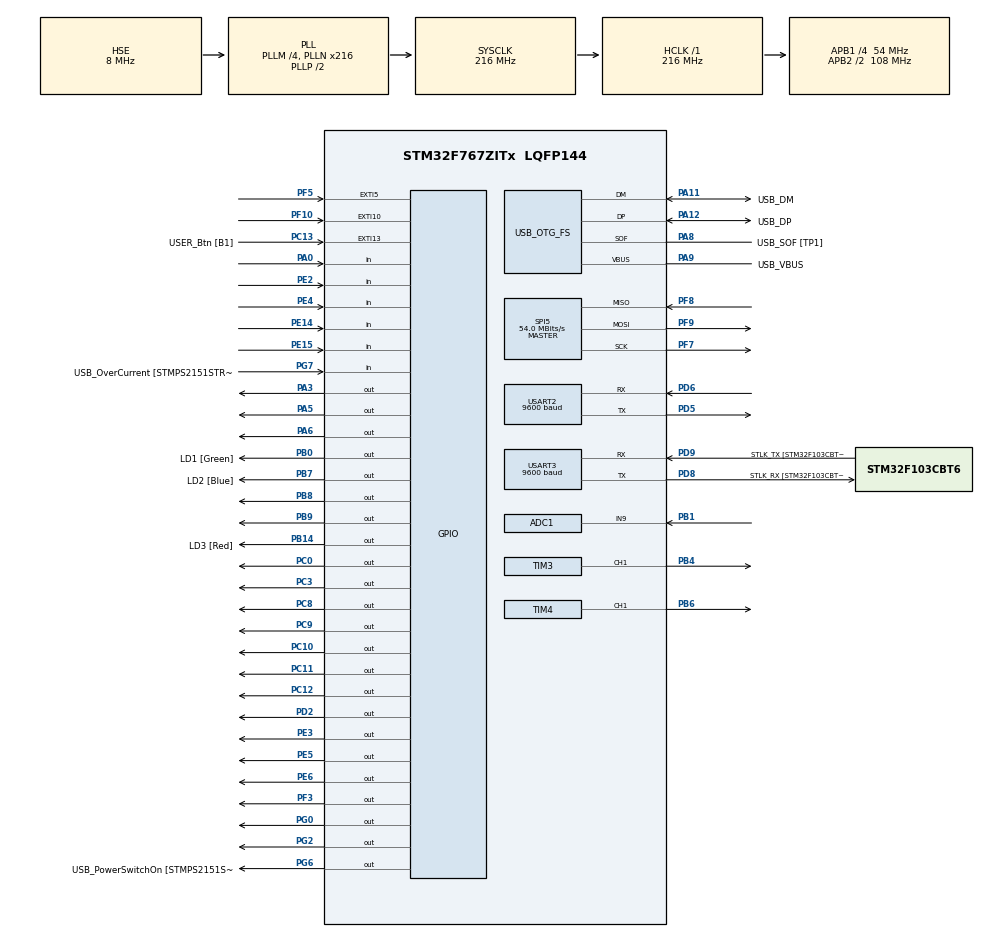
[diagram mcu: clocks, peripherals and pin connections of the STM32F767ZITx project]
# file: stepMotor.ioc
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ADC1.Channel-0\#ChannelRegularConversion=ADC_CHANNEL_9
ADC1.ContinuousConvMode=ENABLE
ADC1.EOCSelection=ADC_EOC_SEQ_CONV
ADC1.NbrOfConversionFlag=1
ADC1.Rank-0\#ChannelRegularConversion=1
ADC1.SamplingTime-0\#ChannelRegularConversion=ADC_SAMPLETIME_3CYCLES
ADC1.master=1
Mcu.Family=STM32F7
Mcu.Name=STM32F767ZITx
Mcu.Package=LQFP144
NVIC.EXTI15_10_IRQn=true\:3\:0\:true\:false\:true\:true\:true\:true
NVIC.EXTI9_5_IRQn=true\:1\:0\:true\:false\:true\:true\:true\:true
NVIC.PriorityGroup=NVIC_PRIORITYGROUP_4
NVIC.TIM1_UP_TIM10_IRQn=true\:0\:0\:false\:false\:true\:true\:true\:true
NVIC.TIM3_IRQn=true\:2\:0\:true\:false\:true\:true\:true\:true
NVIC.TIM4_IRQn=true\:2\:0\:true\:false\:true\:true\:true\:true
PA0/WKUP.GPIO_PuPd=GPIO_PULLDOWN
PA0/WKUP.Signal=GPIO_Input
PA1.GPIO_Label=RMII_REF_CLK [LAN8742A-CZ-TR_REFCLK0]
PA1.Signal=ETH_REF_CLK
PA10.GPIO_Label=USB_ID
PA10.Signal=USB_OTG_FS_ID
PA11.GPIO_Label=USB_DM
PA11.Mode=Device_Only
PA11.Signal=USB_OTG_FS_DM
PA12.GPIO_Label=USB_DP
PA12.Mode=Device_Only
PA12.Signal=USB_OTG_FS_DP
PA13.GPIO_Label=TMS
PA13.Mode=Serial_Wire
PA13.Signal=SYS_JTMS-SWDIO
PA14.GPIO_Label=TCK
PA14.Mode=Serial_Wire
PA14.Signal=SYS_JTCK-SWCLK
PA2.GPIO_Label=RMII_MDIO [LAN8742A-CZ-TR_MDIO]
PA2.Signal=ETH_MDIO
PA3.Signal=GPIO_Output
PA5.Signal=GPIO_Output
PA6.Signal=GPIO_Output
PA7.GPIO_Label=RMII_CRS_DV [LAN8742A-CZ-TR_CRS_DV]
PA7.Signal=ETH_CRS_DV
PA8.GPIO_Label=USB_SOF [TP1]
PA8.Mode=Activate_SOF_FS
PA8.Signal=USB_OTG_FS_SOF
PA9.GPIO_Label=USB_VBUS
PA9.Mode=Activate_VBUS
PA9.Signal=USB_OTG_FS_VBUS
PB0.GPIO_Label=LD1 [Green]
PB0.Signal=GPIO_Output
PB1.Signal=ADCx_IN9
PB13.GPIO_Label=RMII_TXD1 [LAN8742A-CZ-TR_TXD1]
PB13.Signal=ETH_TXD1
PB14.GPIO_Label=LD3 [Red]
PB14.Signal=GPIO_Output
PB3.GPIO_Label=SWO
PB3.Signal=SYS_JTDO-SWO
PB4.GPIO_Speed=GPIO_SPEED_FREQ_MEDIUM
PB4.Signal=S_TIM3_CH1
PB6.GPIO_Speed=GPIO_SPEED_FREQ_MEDIUM
PB6.Signal=S_TIM4_CH1
PB7.GPIO_Label=LD2 [Blue]
PB7.Signal=GPIO_Output
PB8.Signal=GPIO_Output
PB9.Signal=GPIO_Output
PC0.Signal=GPIO_Output
PC1.GPIO_Label=RMII_MDC [LAN8742A-CZ-TR_MDC]
PC1.Signal=ETH_MDC
PC10.GPIO_Speed=GPIO_SPEED_FREQ_HIGH
PC10.Signal=GPIO_Output
PC11.Signal=GPIO_Output
PC12.Signal=GPIO_Output
PC13.GPIO_Label=USER_Btn [B1]
PC13.Signal=GPXTI13
PC14/OSC32_IN.Mode=LSE-External-Oscillator
PC14/OSC32_IN.Signal=RCC_OSC32_IN
PC15/OSC32_OUT.Mode=LSE-External-Oscillator
PC15/OSC32_OUT.Signal=RCC_OSC32_OUT
PC3.Signal=GPIO_Output
PC4.GPIO_Label=RMII_RXD0 [LAN8742A-CZ-TR_RXD0]
PC4.Signal=ETH_RXD0
PC5.GPIO_Label=RMII_RXD1 [LAN8742A-CZ-TR_RXD1]
PC5.Signal=ETH_RXD1
PC8.GPIO_Speed=GPIO_SPEED_FREQ_HIGH
PC8.Signal=GPIO_Output
PC9.GPIO_Speed=GPIO_SPEED_FREQ_HIGH
PC9.Signal=GPIO_Output
PD2.Signal=GPIO_Output
PD5.Mode=Asynchronous
PD5.Signal=USART2_TX
PD6.Mode=Asynchronous
PD6.Signal=USART2_RX
PD8.GPIO_Label=STLK_RX [STM32F103CBT6_PA3]
PD8.Mode=Asynchronous
PD8.Signal=USART3_TX
PD9.GPIO_Label=STLK_TX [STM32F103CBT6_PA2]
PD9.Mode=Asynchronous
PD9.Signal=USART3_RX
PE14.GPIO_PuPd=GPIO_PULLDOWN
PE14.Signal=GPIO_Input
PE15.GPIO_PuPd=GPIO_PULLDOWN
PE15.Signal=GPIO_Input
PE2.Signal=GPIO_Input
PE3.GPIO_Speed=GPIO_SPEED_FREQ_HIGH
PE3.Signal=GPIO_Output
PE4.Signal=GPIO_Input
PE5.GPIO_Speed=GPIO_SPEED_FREQ_HIGH
PE5.Signal=GPIO_Output
PE6.GPIO_Speed=GPIO_SPEED_FREQ_HIGH
PE6.Signal=GPIO_Output
PF10.GPIO_PuPd=GPIO_PULLDOWN
PF10.Signal=GPXTI10
PF3.Signal=GPIO_Output
PF5.GPIO_PuPd=GPIO_PULLDOWN
PF5.Signal=GPXTI5
PF7.Mode=Full_Duplex_Master
PF7.Signal=SPI5_SCK
PF8.Mode=Full_Duplex_Master
PF8.Signal=SPI5_MISO
PF9.Mode=Full_Duplex_Master
PF9.Signal=SPI5_MOSI
PG0.Signal=GPIO_Output
PG11.GPIO_Label=RMII_TX_EN [LAN8742A-CZ-TR_TXEN]
PG11.Signal=ETH_TX_EN
PG13.GPIO_Label=RMII_TXD0 [LAN8742A-CZ-TR_TXD0]
PG13.Signal=ETH_TXD0
PG2.Signal=GPIO_Output
PG6.GPIO_Label=USB_PowerSwitchOn [STMPS2151STR_EN]
PG6.Signal=GPIO_Output
PG7.GPIO_Label=USB_OverCurrent [STMPS2151STR_FAULT]
PG7.Signal=GPIO_Input
PH0/OSC_IN.GPIO_Label=MCO [STM32F103CBT6_PA8]
PH0/OSC_IN.Mode=HSE-External-Clock-Source
PH0/OSC_IN.Signal=RCC_OSC_IN
PH1/OSC_OUT.Mode=HSE-External-Clock-Source
PH1/OSC_OUT.Signal=RCC_OSC_OUT
ProjectManager.HeapSize=0x200
ProjectManager.StackSize=0x400
ProjectManager.TargetToolchain=STM32CubeIDE
RCC.48MHZClocksFreq_Value=24000000
RCC.AHBFreq_Value=216000000
RCC.APB1CLKDivider=RCC_HCLK_DIV4
RCC.APB1Freq_Value=54000000
RCC.APB1TimFreq_Value=108000000
RCC.APB2CLKDivider=RCC_HCLK_DIV2
RCC.APB2Freq_Value=108000000
RCC.APB2TimFreq_Value=216000000
RCC.CortexFreq_Value=216000000
RCC.HCLKFreq_Value=216000000
RCC.HSE_VALUE=8000000
RCC.HSI_VALUE=16000000
RCC.PLLM=4
RCC.PLLMUL=RCC_PLL_MUL9
RCC.PLLN=216
RCC.PLLQ=9
RCC.PRESCALERUSB=RCC_USBCLKSOURCE_PLL_DIV1_5
RCC.SYSCLKFreq_VALUE=216000000
RCC.SYSCLKSource=RCC_SYSCLKSOURCE_PLLCLK
RCC.SYSCLKSourceVirtual=RCC_SYSCLKSOURCE_PLLCLK
RCC.USBFreq_Value=48000000
RCC.VCOOutputFreq_Value=432000000
SH.ADCx_IN9.0=ADC1_IN9,IN9
SH.S_TIM3_CH1.0=TIM3_CH1,PWM Generation1 CH1
SH.S_TIM4_CH1.0=TIM4_CH1,PWM Generation1 CH1
SPI5.CalculateBaudRate=54.0 MBits/s
SPI5.DataSize=SPI_DATASIZE_8BIT
SPI5.Direction=SPI_DIRECTION_2LINES
SPI5.Mode=SPI_MODE_MASTER
SPI5.VirtualType=VM_MASTER
TIM1.Period=10000-1
TIM1.Prescaler=21600-1
TIM3.Channel-PWM\ Generation1\ CH1=TIM_CHANNEL_1
TIM3.Period=1000-1
TIM3.Prescaler=108-1
TIM3.Pulse-PWM\ Generation1\ CH1=500
TIM4.Channel-PWM\ Generation1\ CH1=TIM_CHANNEL_1
TIM4.Period=1000-1
TIM4.Prescaler=108-1
TIM4.Pulse-PWM\ Generation1\ CH1=500
USART2.BaudRate=9600
USART2.VirtualMode-Asynchronous=VM_ASYNC
USART3.BaudRate=9600
USART3.VirtualMode-Asynchronous=VM_ASYNC
USB_OTG_FS.VirtualMode=Device_Only
VP_RNG_VS_RNG.Mode=RNG_Activate
VP_TIM1_VS_ClockSourceINT.Mode=Internal
VP_TIM3_VS_ClockSourceINT.Mode=Internal
VP_TIM4_VS_ClockSourceINT.Mode=Internal
board=NUCLEO-F767ZI

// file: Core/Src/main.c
/* USER CODE BEGIN Header */
/**
  ******************************************************************************
  * @file           : main.c
  * @brief          : Main program body
  ******************************************************************************
  * @attention
  *
  * Copyright (c) 2025 STMicroelectronics.
  * All rights reserved.
  *
  * This software is licensed under terms that can be found in the LICENSE file
  * in the root directory of this software component.
  * If no LICENSE file comes with this software, it is provided AS-IS.
  *
  ******************************************************************************
  */
/* USER CODE END Header */
#include "main.h"
#include "adc.h"
#include "rng.h"
#include "spi.h"
#include "tim.h"
#include "usart.h"
#include "usb_otg.h"
#include "gpio.h"

/* USER CODE BEGIN Includes */
#include <stdio.h>
#include <string.h>
#include "Micro_Max.h"
#include <stdio.h>
#include "config.h"
//#include "cli.h"
#include "motion.h"
#include "homing.h"
#include "stepper.h"
#include <stdbool.h>
#include "tim.h"
#include "ILI9341_Touchscreen.h"

#include "ILI9341_STM32_Driver.h"
#include "ILI9341_GFX.h"

#include "snow_tiger.h"
#include <ctype.h>
#include <stdlib.h>
#include "core_cm7.h"
/* USER CODE END Includes */

/* USER CODE BEGIN PTD */
typedef struct {
    GPIO_TypeDef *port;
    uint16_t pin;
} MuxEnablePin;

MuxEnablePin mux_enables[4] = {
    {GPIOB, GPIO_PIN_8},   // MUX 0
    {GPIOB, GPIO_PIN_9},   // MUX 1
    {GPIOA, GPIO_PIN_5},   // MUX 2
    {GPIOA, GPIO_PIN_6},   // MUX 3
};
/* USER CODE END PTD */

/* USER CODE BEGIN PD */

#define UART_TIMEOUT    HAL_MAX_DELAY
#define LINE_BUFSIZE    64

/* USER CODE END PD */

/* USER CODE BEGIN PV */
uint32_t check = 0;

volatile uint32_t player1_time = 1800;
volatile uint32_t player2_time = 1800;
volatile uint8_t  current_player = 1;
uint8_t button1_state = 1;
uint8_t button15_state = 1;
uint8_t last_button_state1 = 1; // pull-up = idle
uint8_t last_button_state15 = 1;
uint8_t button2_state = 1;
uint8_t last_button_state2 = 1; // pull-up = idle

char formatted1[64];
uint8_t send_ready = 0;
uint8_t button1_flag = 0;
uint8_t button15_flag = 0;
uint8_t button2_flag = 0;
#define RX_BUFFER_SIZE 64
uint8_t rx_char;             // ตัวอักษรที่รับเข้าทีละตัว
char rx_buffer[RX_BUFFER_SIZE];
volatile uint8_t rx_idx = 0;

bool mg = false;

uint32_t max_board[4][16] = {0};
uint32_t min_board[4][16] = {9999};

uint32_t prev_board[4][16] = {0};
uint32_t prev_threshold[4][16];
uint8_t total_piece = 32;
uint8_t count_piece = 0;
volatile bool curr_board0[4][16] = {0};
uint32_t curr_board[4][16] = {0};
char captured_square[3] = {0};
uint32_t board_empty[4][16];
uint32_t threshold[4][16];

bool whiteSide = true;
uint8_t started = 0;
const char *square_map[4][16] = {
    // mux 0  (was rank 8–7 → now rank 1–2)
    {
        "h1","g1","f1","e1","d1","c1","b1","a1",
        "h2","g2","f2","e2","d2","c2","b2","a2"
    },
    // mux 1  (was rank 6–5 → now rank 3–4)
    {
        "h3","g3","f3","e3","d3","c3","b3","a3",
        "h4","g4","f4","e4","d4","c4","b4","a4"
    },
    // mux 2  (was rank 4–3 → now rank 5–6)
    {
        "h5","g5","f5","e5","d5","c5","b5","a5",
        "h6","g6","f6","e6","d6","c6","b6","a6"
    },
    // mux 3  (was rank 2–1 → now rank 7–8)
    {
        "h7","g7","f7","e7","d7","c7","b7","a7",
        "h8","g8","f8","e8","d8","c8","b8","a8"
    }
};

/* USER CODE END PV */

void SystemClock_Config(void);
/* USER CODE BEGIN PFP */
char select_initial_string(void);
/* USER CODE END PFP */

/* USER CODE BEGIN 0 */
char mov[5] = {0};
static void uart_puts(const char *s) {
  HAL_UART_Transmit(&huart3, (uint8_t*)s, strlen(s), UART_TIMEOUT);
}

/* อ่าน 1 บรรทัด (จบเมื่อเจอ CR/LF), เก็บลง buf แบบ zero-terminated
   คืนค่าความยาวสตริง (ไม่รวม \0) */
static int uart_getline(char *buf, int maxlen) {
  int idx = 0;
  while (idx < maxlen - 1) {
    uint8_t ch;
    if (HAL_UART_Receive(&huart3, &ch, 1, UART_TIMEOUT) != HAL_OK) {
      continue; // or return -1 หากอยากให้หลุด
    }

    // echo (option) — ให้เห็นบน TeraTerm ว่าพิมพ์อะไร
    HAL_UART_Transmit(&huart3, &ch, 1, UART_TIMEOUT);

    if (ch == '\r') {
      // รอ LF ต่อ (ถ้ามี)
      uint8_t next;
      if (HAL_UART_Receive(&huart3, &next, 1, 5) == HAL_OK && next != '\n') {
        // ไม่ใช่ LF ก็เอาคืน buffer (ถ้าต้องการ)
      }
      break;
    } else if (ch == '\n') {
      break;
    } else if (ch == 0x08 || ch == 0x7F) {
      // Backspace
      if (idx > 0) {
        idx--;
      }
    } else {
      buf[idx++] = (char)ch;
    }
  }
  buf[idx] = '\0';
  return idx;
}

/* ตรวจรูปแบบ "e2e4": ไฟล์ a..h, แถว 1..8, 4 อักษรพอดี */
static int is_valid_mov4(const char *s) {
  return (strlen(s) == 4) &&
         (s[0] >= 'a' && s[0] <= 'h') &&
         (s[1] >= '1' && s[1] <= '8') &&
         (s[2] >= 'a' && s[2] <= 'h') &&
         (s[3] >= '1' && s[3] <= '8');
}

static int char_to_int(char s) {
  if(s == 'h' || s=='1'){return 0;}
  if(s == 'g' || s=='2'){return 1;}
  if(s == 'f' || s=='3'){return 2;}
  if(s == 'e' || s=='4'){return 3;}
  if(s == 'd' || s=='5'){return 4;}
  if(s == 'c' || s=='6'){return 5;}
  if(s == 'b' || s=='7'){return 6;}
  if(s == 'a' || s=='8'){return 7;}
}

static void set_mux_channel(uint8_t counter)
{
    // counter = 0..15
    HAL_GPIO_WritePin(GPIOG, GPIO_PIN_2,  (counter & (1<<0)) ? GPIO_PIN_SET : GPIO_PIN_RESET);   // SEL0 (LSB)
    HAL_GPIO_WritePin(GPIOD, GPIO_PIN_2, (counter & (1<<1)) ? GPIO_PIN_SET : GPIO_PIN_RESET);   // SEL1
    HAL_GPIO_WritePin(GPIOC, GPIO_PIN_12, (counter & (1<<2)) ? GPIO_PIN_SET : GPIO_PIN_RESET);   // SEL2
    HAL_GPIO_WritePin(GPIOC, GPIO_PIN_11, (counter & (1<<3)) ? GPIO_PIN_SET : GPIO_PIN_RESET);   // SEL3 (MSB)
}

static void enable_mux(uint8_t mux_index) {
    for (int i = 0; i < 4; i++) {
        HAL_GPIO_WritePin(mux_enables[i].port, mux_enables[i].pin, GPIO_PIN_SET); // disable all (assuming active LOW)
    }
    HAL_GPIO_WritePin(mux_enables[mux_index].port, mux_enables[mux_index].pin, GPIO_PIN_RESET); // enable selected mux
}

void print_board(void) {
    char msg[40];
    HAL_UART_Transmit(&huart3, (uint8_t*)"\r\n", 2, HAL_MAX_DELAY);

    for (int rank = 0; rank < 8; rank++) {
        for (int file = 0; file < 8; file++) {
            int index = rank * 8 + file; // 0..63
            int mux = index / 16;        // 0..3
            int ch  = index % 16;        // 0..15

            char c = (curr_board[mux][ch] < threshold[mux][ch]) ? '1' : '.';

            sprintf(msg, "%c ", c);
            HAL_UART_Transmit(&huart3, (uint8_t*)msg, strlen(msg), HAL_MAX_DELAY);
        }
        HAL_UART_Transmit(&huart3, (uint8_t*)"\r\n", 2, HAL_MAX_DELAY);
    }

    HAL_UART_Transmit(&huart3, (uint8_t*)"\r\n", 2, HAL_MAX_DELAY);
    HAL_UART_Transmit(&huart3, (uint8_t*)"_______________________________\r\n", strlen("_______________________________\r\n"), HAL_MAX_DELAY);
    HAL_UART_Transmit(&huart3, (uint8_t*)"\r\n", 2, HAL_MAX_DELAY);
        for (int rank = 0; rank < 8; rank++) {
            for (int file = 0; file < 8; file++) {
                int index = rank * 8 + file; // 0..63
                int mux = index / 16;        // 0..3
                int ch  = index % 16;        // 0..15

                char c = (prev_board[mux][ch] < prev_threshold[mux][ch]) ? '1' : '.';

                sprintf(msg, "%c ", c);
                HAL_UART_Transmit(&huart3, (uint8_t*)msg, strlen(msg), HAL_MAX_DELAY);
            }
            HAL_UART_Transmit(&huart3, (uint8_t*)"\r\n", 2, HAL_MAX_DELAY);
        }

    HAL_UART_Transmit(&huart3, (uint8_t*)"\r\n", 2, HAL_MAX_DELAY);
}

uint32_t read_adc(void) {
    uint32_t value = 0;

    HAL_ADC_Start(&hadc1);
    if (HAL_ADC_PollForConversion(&hadc1, 10) == HAL_OK) {
        value = HAL_ADC_GetValue(&hadc1);
    }
    HAL_ADC_Stop(&hadc1);

    return value;
}

void check_knight_move(const char *from, const char *to) {
    if (!from || !to || strlen(from) < 2 || strlen(to) < 2)
        return;

    int from_file = toupper(from[0]) - 'a' + 1;
    int from_rank = from[1] - '0';
    int to_file   = toupper(to[0]) - 'a' + 1;
    int to_rank   = to[1] - '0';

    int dx = abs(to_file - from_file);
    int dy = abs(to_rank - from_rank);

    if ((dx == 2 && dy == 1) || (dx == 1 && dy == 2)) {
        char buffer[128];
        snprintf(buffer, sizeof(buffer),
                 "Knight move detected: %s -> %s\r\n", from, to);
        uart_puts(buffer);

        uart_puts("Squares around path: ");

        		//Ex: E1F3, min=E, max=F, min=1, max=3
                // Get min/max boundaries between from and to (exclusive)
                int min_file = (from_file < to_file) ? from_file : to_file;
                int max_file = (from_file > to_file) ? from_file : to_file;
                int min_rank = (from_rank < to_rank) ? from_rank : to_rank;
                int max_rank = (from_rank > to_rank) ? from_rank : to_rank;

                for (int f = min_file; f <= max_file; f++) {
                    for (int r = min_rank; r <= max_rank; r++) {
                        // skip start and end
                        if ((f == from_file && r == from_rank) || (f == to_file && r == to_rank))
                            continue;

                        char square[5];
                        square[0] = 'a' + f - 1;
                        square[1] = '0' + r;
                        square[2] = ' ';
                        square[3] = '\0';
                        uart_puts(square);
                    }
                }

                uart_puts("\r\n");
    }
}

void scan_board(void) {
    for (uint8_t mux = 0; mux < 4; mux++) {
        enable_mux(mux);

        for (uint8_t ch = 0; ch < 16; ch++) {
            set_mux_channel(ch);
            HAL_Delay(5); // allow signals to settle

            uint32_t adc_val = read_adc();
            curr_board[mux][ch] = adc_val;
            if (( min_board[mux][ch] != 9999) && (adc_val > max_board[mux][ch])  ){
            	max_board[mux][ch] = adc_val;
            	threshold[mux][ch] = (max_board[mux][ch]+min_board[mux][ch])/2;
            }

            else if(( max_board[mux][ch] != 0) && (adc_val < min_board[mux][ch]) ){
            	min_board[mux][ch] = adc_val;
            	threshold[mux][ch] = (max_board[mux][ch]+min_board[mux][ch])/2;
            }
        }
    }
}

void detect_capture(void) {
	count_piece = 0;
	uint8_t captured_piece = 0;
    for (uint8_t mux = 0; mux < 4; mux++) {
        for (uint8_t ch = 0; ch < 16; ch++) {

            uint8_t prev_state = (prev_board[mux][ch] < prev_threshold[mux][ch]) ? 1 : 0;
            uint8_t curr_state = (curr_board[mux][ch] < threshold[mux][ch]) ? 1 : 0;

            if (curr_state == 1){
            	count_piece += 1;
            }
            if (prev_state && !curr_state) {
            	if(captured_piece == 1)
            	{
            		captured_square[0] = '\0';
					uart_puts("\r\nReturn the piece and try again.\r\n");
					HAL_UART_Transmit(&huart2, (uint8_t*)("e\n"), strlen("e\n"), UART_TIMEOUT);
					return;
            	}
                strcpy(captured_square, square_map[mux][ch]);
                char msg[32];
                sprintf(msg, "Captured:%s\r\n", captured_square);
                captured_piece+=1;
                HAL_UART_Transmit(&huart3, (uint8_t*)msg, strlen(msg), HAL_MAX_DELAY);
            }
        }
    }
    if (captured_piece == 0 || count_piece != total_piece - 1)
    {
    	captured_square[0] = '\0';
    	HAL_UART_Transmit(&huart2, (uint8_t*)("e\n"), strlen("e\n"), UART_TIMEOUT);
		uart_puts("\r\nMake sure piece is in the center.\r\n");
		return;
    }

    if (captured_piece == 1 && count_piece == total_piece - 1)
    {
    	total_piece -= 1;
		memcpy((void*)prev_board, (void*)curr_board, sizeof(prev_board));
		memcpy((void*)prev_threshold, (void*)threshold, sizeof(prev_threshold));
    }
}

char* detect_move(void) {
    static char msg[20];   // ✅ now it's not destroyed when function exits
    msg[0] = '\0';
    count_piece = 0;
    const char *from_squares[2] = {NULL, NULL};
    const char *to_squares[2] = {NULL, NULL};
    uint8_t from_count = 0, to_count = 0;

    for (uint8_t mux = 0; mux < 4; mux++) {
        for (uint8_t ch = 0; ch < 16; ch++) {
            uint8_t prev_state = (prev_board[mux][ch] < prev_threshold[mux][ch]) ? 1 : 0;
            uint8_t curr_state = (curr_board[mux][ch] < threshold[mux][ch]) ? 1 : 0;

            if(curr_state == 1)
            {
            	count_piece += 1;
            }
            if (prev_state && !curr_state && from_count < 2)
                from_squares[from_count++] = square_map[mux][ch];

            if (!prev_state && curr_state && to_count < 2)
                to_squares[to_count++] = square_map[mux][ch];
        }
    }
    if(count_piece != total_piece){
    	return "0";
    }
    // normal move
    if (from_count == 1 && to_count == 1) {
        sprintf(msg, "%s%s", from_squares[0], to_squares[0]);
        uart_puts("\rCase 1\r\n");
    }
    // castling
    else if (from_count == 2 && to_count == 2) {
        const char *from = from_squares[0];
        const char *to   = to_squares[0];

        if (from_squares[1] && from_squares[1][0] == 'e') {
            from = from_squares[1];
            to   = to_squares[0];
        } else if (from_squares[0] && from_squares[0][0] == 'e') {
            from = from_squares[0];
            to   = to_squares[1];
        }

        sprintf(msg, "%s%s", from, to);
        uart_puts("\rCase 2\r\n");
    }

    return msg;
}

void restore_prev_board(void) {
    if (captured_square[0] == '\0') return; // no capture to restore

    for (uint8_t mux = 0; mux < 4; mux++) {
        for (uint8_t ch = 0; ch < 16; ch++) {
            if (strcmp(square_map[mux][ch], captured_square) == 0) {
                prev_board[mux][ch] = prev_threshold[mux][ch] - 1; // restore to "occupied"
                char msg[40];
                sprintf(msg, "Restored:%s\r\n", captured_square);
                HAL_UART_Transmit(&huart3, (uint8_t*)msg, strlen(msg), HAL_MAX_DELAY);
                break;
            }
        }
    }
    total_piece += 1;
    captured_square[0] = '\0';
}

void update_board_from_reply(const char *reply) {
    if (reply == NULL || strlen(reply) < 4) return;

    char from_square[3], to_square[3];
    strncpy(from_square, reply, 2);
    from_square[2] = '\0';
    strncpy(to_square, reply + 2, 2);
    to_square[2] = '\0';

    // Loop through all squares to find matches
    for (uint8_t mux = 0; mux < 4; mux++) {
        for (uint8_t ch = 0; ch < 16; ch++) {
            if (strcmp(square_map[mux][ch], from_square) == 0) {
                curr_board[mux][ch] = board_empty[mux][ch];
                threshold[mux][ch] = 0;
            }
            else if (strcmp(square_map[mux][ch], to_square) == 0) {
                curr_board[mux][ch] = threshold[mux][ch] - 1;
            }
        }
    }
}

void startup_scan()
{
	scan_board();
	for(int i = 0; i < 4; i++)
	  {
		  for(int j = 0; j < 16; j++)
		  {
			  if(i==0 || i==3)
			  {
				  board_empty[i][j] = ((curr_board[i][j])*100)/80;
				  min_board[i][j] =board_empty[i][j];
				  max_board[i][j] = 0 ;
			  }
			  else
			  {
				  board_empty[i][j] = curr_board[i][j];
				  max_board[i][j] =board_empty[i][j];
				  min_board[i][j] = 9999;
			  }

		  }
	  }
	  for(int i=0; i<4; i++)
		  {
			for(int j=0; j<16; j++)
			{

				if(i==0 ||i ==3)
				{
  //					threshold[i][j] = (board_empty[i][j]*90)/100;
					threshold[i][j] = curr_board[i][j] + 200;

				}
				else
				{
  //        			threshold[i][j] = (board_empty[i][j]*85)/100;
					threshold[i][j] = 0;
				}

			}
		  }

		memcpy((void*)prev_board, (void*)curr_board, sizeof(prev_board));
		memcpy((void*)prev_threshold, (void*)threshold, sizeof(prev_threshold));
		print_board();
		home_reset_sequence();
		HAL_Delay(500);
//		uint8_t xi;
//		uint8_t yi;
//		for(int j=7; j>=0; j--)
//		{
//
//			xi = 1;
//			yi = j;
//			if (corexy_move_to_cell((uint8_t)xi,(uint8_t)yi, DEFAULT_FREQ) == 0) {
//				HAL_Delay(100);
//				HAL_GPIO_WritePin(GPIOG, GPIO_PIN_0, 1);
//				HAL_Delay(100);
//			}
//
//			xi+=2;
//			if( corexy_move_to_cell((uint8_t)xi,(uint8_t)yi, DEFAULT_FREQ) == 0) {
//				HAL_Delay(100);
//				HAL_GPIO_WritePin(GPIOG, GPIO_PIN_0, 0);
//				HAL_Delay(100);
//			}
//
//			xi = 0;
//			if (corexy_move_to_cell((uint8_t)xi,(uint8_t)yi, DEFAULT_FREQ) == 0) {
//				HAL_Delay(100);
//				HAL_GPIO_WritePin(GPIOG, GPIO_PIN_0, 1);
//				HAL_Delay(100);
//			}
//			xi+=2;
//			if (corexy_move_to_cell((uint8_t)xi,(uint8_t)yi, DEFAULT_FREQ) == 0) {
//				HAL_Delay(100);
//				HAL_GPIO_WritePin(GPIOG, GPIO_PIN_0, 0);
//				HAL_Delay(100);
//			}
//
//			 corexy_move_to_cell((uint8_t)1,(uint8_t)yi, DEFAULT_FREQ);
//		}
//		home_reset_sequence();
//		HAL_Delay(500);
//		for(int j=7; j>=0; j--)
//		{
//			xi = 6;
//			yi = j;
//			corexy_move_to_cell((uint8_t)xi,(uint8_t)yi, DEFAULT_FREQ);
//			HAL_GPIO_WritePin(GPIOG, GPIO_PIN_0, 1);
//			HAL_Delay(100);
//			xi-=2;
//			corexy_move_to_cell((uint8_t)xi,(uint8_t)yi, DEFAULT_FREQ);
//			HAL_GPIO_WritePin(GPIOG, GPIO_PIN_0, 0);
//			HAL_Delay(100);
//
//			xi = 7;
//			corexy_move_to_cell((uint8_t)xi,(uint8_t)yi, DEFAULT_FREQ);
//			HAL_GPIO_WritePin(GPIOG, GPIO_PIN_0, 1);
//			HAL_Delay(100);
//			xi-=2;
//			corexy_move_to_cell((uint8_t)xi,(uint8_t)yi, DEFAULT_FREQ);
//			HAL_GPIO_WritePin(GPIOG, GPIO_PIN_0, 0);
//			HAL_Delay(100);
//
//			corexy_move_to_cell((uint8_t)6,(uint8_t)yi, DEFAULT_FREQ);
//		}
//		home_reset_sequence();
//		HAL_Delay(500);
//		scan_board();
//		for(int j=7; j>=0; j--)
//		{
//			xi = 2;
//			yi = j;
//			corexy_move_to_cell((uint8_t)xi,(uint8_t)yi, DEFAULT_FREQ);
//			HAL_GPIO_WritePin(GPIOG, GPIO_PIN_0, 1);
//			HAL_Delay(100);
//			xi-=2;
//			corexy_move_to_cell((uint8_t)xi,(uint8_t)yi, DEFAULT_FREQ);
//			HAL_GPIO_WritePin(GPIOG, GPIO_PIN_0, 0);
//			HAL_Delay(100);
//
//			xi = 3;
//			corexy_move_to_cell((uint8_t)xi,(uint8_t)yi, DEFAULT_FREQ);
//			HAL_GPIO_WritePin(GPIOG, GPIO_PIN_0, 1);
//			HAL_Delay(100);
//			xi-=2;
//			corexy_move_to_cell((uint8_t)xi,(uint8_t)yi, DEFAULT_FREQ);
//			HAL_GPIO_WritePin(GPIOG, GPIO_PIN_0, 0);
//			HAL_Delay(100);
//
//			corexy_move_to_cell((uint8_t)2,(uint8_t)yi, DEFAULT_FREQ);
//		}
//		home_reset_sequence();
//		HAL_Delay(500);
//		for(int j=7; j>=0; j--)
//		{
//			xi = 5;
//			yi = j;
//			corexy_move_to_cell((uint8_t)xi,(uint8_t)yi, DEFAULT_FREQ);
//			HAL_GPIO_WritePin(GPIOG, GPIO_PIN_0, 1);
//			HAL_Delay(100);
//			xi+=2;
//			corexy_move_to_cell((uint8_t)xi,(uint8_t)yi, DEFAULT_FREQ);
//			HAL_GPIO_WritePin(GPIOG, GPIO_PIN_0, 0);
//			HAL_Delay(100);
//
//			xi = 4;
//			corexy_move_to_cell((uint8_t)xi,(uint8_t)yi, DEFAULT_FREQ);
//			HAL_GPIO_WritePin(GPIOG, GPIO_PIN_0, 1);
//			HAL_Delay(100);
//			xi+=2;
//			corexy_move_to_cell((uint8_t)xi,(uint8_t)yi, DEFAULT_FREQ);
//			HAL_GPIO_WritePin(GPIOG, GPIO_PIN_0, 0);
//			corexy_move_to_cell((uint8_t)5,(uint8_t)yi, DEFAULT_FREQ);
//			HAL_Delay(100);
//		}
//		scan_board();
//		home_reset_sequence();
//		HAL_Delay(500);
}
// ส่งข้อความผ่าน UART2
static void uart_puts2(const char s) {
  HAL_UART_Transmit(&huart2, (uint8_t)s, strlen(s), UART_TIMEOUT);
  const uint8_t crlf[2] = {'\r','\n'};
  HAL_UART_Transmit(&huart2, (uint8_t*)crlf, 2, UART_TIMEOUT);
}

// อ่านบรรทัดผ่าน UART2 (จนเจอ '\r' หรือ '\n')
static int uart2_getline(char *buf, int maxlen) {
  int idx = 0;
  while (idx < maxlen - 1) {
    uint8_t ch;
    if (HAL_UART_Receive(&huart2, &ch, 1, UART_TIMEOUT) != HAL_OK) {
      continue; // or return -1 หากอยากให้หลุด
    }

    HAL_UART_Transmit(&huart3, &ch, 1, UART_TIMEOUT);

    if (ch == '\r') {
      // รอ LF ต่อ (ถ้ามี)
      uint8_t next;
      if (HAL_UART_Receive(&huart2, &next, 1, 5) == HAL_OK && next != '\n') {
        // ไม่ใช่ LF ก็เอาคืน buffer (ถ้าต้องการ)
      }
      break;
    } else if (ch == '\n') {
      break;
    } else if (ch == 0x08 || ch == 0x7F) {
      // Backspace
      if (idx > 0) {
        idx--;
      }
    } else {
      buf[idx++] = (char)ch;
    }
  }
  buf[idx] = '\0';
  return idx;
}

void game_over_screen(uint8_t winner)
{
    ILI9341_Fill_Screen(BLACK);

    char buffer[32];

    // ขึ้นข้อความ Game Over
    ILI9341_Draw_Text("GAME OVER", 50, 50, YELLOW, 4, BLACK);

    if (winner == 1)
        sprintf(buffer, " P1 : WIN");
    else if (winner == 2)
        sprintf(buffer, " P2 : WIN");
    else
        sprintf(buffer, "DRAW");

    ILI9341_Draw_Text(buffer, 70, 110, GREEN, 3, BLACK);

    // แสดงข้อความกดเพื่อรีสตาร์ท (optional)
    ILI9341_Draw_Text("Touch to Restart", 60, 170, WHITE, 2, BLACK);
    char ch = 'O';
    HAL_UART_Transmit(&huart2, (uint8_t*)&ch, 1, HAL_MAX_DELAY);

    while (1)
    {
        // รอผู้เล่นแตะจอเพื่อเริ่มใหม่
        if (TP_Touchpad_Pressed())
        {
        	NVIC_SystemReset();
            select_initial_string();
            // reset เวลาใหม่
            player1_time = 600;
            player2_time = 600;
            current_player = 1;
            ILI9341_Fill_Screen(BLACK);
            send_ready = 0;

            update_display();
            HAL_Delay(500); // debounce
            break;  // ออกจาก loop กลับไป main
        }
    }
}

void update_display(void)
{

    char buffer[32];

    // Player 1
    sprintf(buffer, "P1: %02lu:%02lu", player1_time/60, player1_time%60);
    ILI9341_Draw_Text(buffer, 10, 0, WHITE, 3, BLACK);

    // Player 2
    sprintf(buffer, "P2: %02lu:%02lu", player2_time/60, player2_time%60);
    ILI9341_Draw_Text(buffer, 10, 50, WHITE, 3, BLACK);

    // Turn
    sprintf(buffer, "Turn: P%d", current_player);
    ILI9341_Draw_Text(buffer, 10, 100, YELLOW, 3, BLACK);

    // UART Zone

    ILI9341_Draw_Text("Move:", 10, 140, CYAN, 2, BLACK);

    rx_idx = 0;
    memset(rx_buffer, 0, RX_BUFFER_SIZE);
}

void ready(char *mode)
{
    ILI9341_Fill_Screen(BLACK);
    ILI9341_Draw_Text("Press button twice to start...", 10, 20, WHITE, 2, BLACK);

    uint32_t last_tick = HAL_GetTick();
    int press_count = 0;
    uint8_t button15_flag = 0; // เก็บสถานะปุ่ม

    if (strcmp(mode, "C") == 0)
    {
        while (1)
        {
            GPIO_PinState button15_state = HAL_GPIO_ReadPin(GPIOA, GPIO_PIN_0);

            // ถ้ากดปุ่มและยังไม่ถูกนับ
            if (button15_state == GPIO_PIN_SET && button15_flag == 0)
            {
            	char test[] = "\r";
                press_count++; // นับครั้งที่กด
                scan_board();
                print_board();
                button15_flag = 1; // ตั้ง flag ว่ากดแล้ว
            }
            // รีเซ็ต flag เมื่อปล่อยปุ่ม
            else if (button15_state == GPIO_PIN_RESET)
            {
                button15_flag = 0;
            }

            if (press_count >= 2) // กดครบ 2 ครั้ง
            {
                ILI9341_Fill_Screen(RED);
                ILI9341_Draw_Text("Start!", 100, 100, WHITE, 3, RED);
                HAL_Delay(200);
                return;
            }

            HAL_Delay(10); // เล็กน้อยเพื่อไม่ให้ loop เร็วจนเกินไป
        }
    }
}

char select_initial_string(void)
{
    char *modes[] = {"C", "P"};   // โหมดทั้งหมด
    int mode_count = 2;
    int current_mode = 0;
    char send_string[16];
    send_ready = 0;

    ILI9341_Fill_Screen(BLACK);
    ILI9341_Draw_Text("Btn1/Btn2 : SelectMode", 10, 20, WHITE, 2, BLACK);
    ILI9341_Draw_Text("Btn3 : ScanBoard", 10, 50, WHITE, 2, BLACK);
    ILI9341_Draw_Text(modes[current_mode], 50, 100, YELLOW, 5, BLACK);

    while(1)
    {
    	button1_state = HAL_GPIO_ReadPin(GPIOE, GPIO_PIN_15);
    	if (last_button_state1 == 0 && button1_state == 1) // กดลงจริง
    	{
    	    HAL_Delay(100); // debounce เล็กน้อย
    	    if (HAL_GPIO_ReadPin(GPIOE, GPIO_PIN_15) == 0) // ตรวจซ้ำว่ายังกดอยู่
    	    {
    	        current_mode++;
    	        if (current_mode >= mode_count)
    	            current_mode = 0;

    	        ILI9341_Draw_Rectangle(40, 90, 80, 60, BLACK);
    	        ILI9341_Draw_Text(modes[current_mode], 50, 100, YELLOW, 5, BLACK);
    	    }
    	}
    	last_button_state1 = button1_state;

        // ปุ่ม 2 → โหมดถัดไป
    	button2_state = HAL_GPIO_ReadPin(GPIOA, GPIO_PIN_0);
    	if (last_button_state2 == 0 && button2_state == 1)
    	{
    	    HAL_Delay(20);  // หน่วงเวลา 20ms เพื่อลด bouncing
    	    if (HAL_GPIO_ReadPin(GPIOA, GPIO_PIN_0) == 0)  // ตรวจซ้ำเพื่อยืนยันว่ากดจริง
    	    {
    	    	HAL_UART_Transmit(&huart2, (uint8_t*)"Z", strlen("Z"), HAL_MAX_DELAY);
    	    }
    	}
    	last_button_state2 = button2_state;

        // ปุ่ม 3 → ส่ง string ผ่าน UART
        button15_state = HAL_GPIO_ReadPin(GPIOE, GPIO_PIN_14);
        if (last_button_state15 == 0 && button15_state == 1)
        {
			char test[] = "\r";

			if (strcmp(modes[current_mode], "C") == 0){
				return 'C';
						}
			//s
			if (strcmp(modes[current_mode], "P") == 0){
				return 'P';
						}

			//
//
//			HAL_UART_Transmit(&huart2, (uint8_t*)send_string, 1, HAL_MAX_DELAY);
//			HAL_UART_Transmit(&huart2, (uint8_t*)test, strlen(test), HAL_MAX_DELAY);
//
//			HAL_UART_Transmit(&huart3, (uint8_t*)send_string, 1, HAL_MAX_DELAY);
//			HAL_UART_Transmit(&huart3, (uint8_t*)test, strlen(test), HAL_MAX_DELAY);

        }
        last_button_state15 = button15_state;
    }
}

void process_move(char *rx)
{
    char rx_copy[RX_BUFFER_SIZE];
    strncpy(rx_copy, rx, sizeof(rx_copy));

    char *sep = NULL;
    char *front = NULL;
    char *back  = NULL;
    uint8_t moved = 1;
    uint8_t isCastle = 0;
    uint8_t istake = 0;
    int cut_len = 0;

    if ((sep = strstr(rx_copy, "-t:")) != NULL) {
        sep += 3;
        istake = 1;
        cut_len = 3;
    }
    else if ((sep = strstr(rx_copy, "-n:")) != NULL) {
        sep += 3;
        cut_len = 3;
    }
    else if ((sep = strstr(rx_copy, "-ck:")) != NULL) {
        sep += 4;
        isCastle = 1;
        cut_len = 4;
    }
    else if ((sep = strstr(rx_copy, "-cq:")) != NULL) {
        sep += 4;
        isCastle = 1;
        cut_len = 4;
    }
    else if ((sep = strstr(rx_copy, ":")) != NULL) {
        sep += 1;
        cut_len = 1;
    }

    if (sep) {
        *(sep - cut_len) = '\0';
        front = rx_copy;
        back = sep;
    } else {
        front = rx_copy;
        back = NULL;
    }

    // ทำเหมือนโค้ด main loop เดิมของคุณ
    if (front)
    {
        uint8_t valid_move = 1;
        if(strcmp(front, "t") == 0){
            current_player = (current_player == 1) ? 2 : 1;
            moved = 0;
            valid_move = 0;
        }

        char formatted1[64];
        snprintf(formatted1, sizeof(formatted1), "%.2s to %.2s", front, front+2);

        ILI9341_Draw_Rectangle(0, 140, 240, 180, BLACK);
        if (moved){
            ILI9341_Draw_Text(formatted1, 50, 165, YELLOW, 3, BLACK);
        }

        if(back && moved)
        {
            if (strcmp(back, "nv") == 0)
            {
                ILI9341_Draw_Text("Not-Valid-Move", 40, 190, GREEN, 2, BLACK);
                valid_move = 0;
            }
            else if (strcmp(back, "CHECKMATE") == 0){
                ILI9341_Draw_Text(back, 40, 190, RED, 3, BLACK);
                HAL_Delay(100);

                if (current_player == 1){
                    game_over_screen(1);
                }
                else if (current_player == 2){
                    game_over_screen(2);
                }
            }
            else
            {
                if (isCastle) {
                    ILI9341_Draw_Text(back, 20, 190, GREEN, 3, BLACK);
                    ILI9341_Draw_Text("CASTLE", 130, 190, CYAN, 3, BLACK);
                }
                if (istake) {
                    ILI9341_Draw_Text(back, 10, 190, GREEN, 3, BLACK);
                    ILI9341_Draw_Text("TAKE", 150, 190, RED, 3, BLACK);
                }
                else if (!istake && !isCastle){
                    ILI9341_Draw_Text(back, 60, 190, GREEN, 3, BLACK);
                }
            }
        }
        else if(moved)
        {
            ILI9341_Draw_Text("Invalid", 70, 190, GREEN, 3, BLACK);
            valid_move = 0;
        }

        if(valid_move)
        {
            current_player = (current_player == 1) ? 2 : 1;
            update_display();
        }

        // ส่ง debug
        char msg[128];
        char test[] = "\r";

    }
}

/* ---------- ฟังก์ชัน init USART3 (CubeMX จะ generate ให้) ---------- */

/* USER CODE END 0 */

int main(void)
{

  /* MCU Configuration--------------------------------------------------------*/

  /* Reset of all peripherals, Initializes the Flash interface and the Systick. */
  HAL_Init();

  /* Configure the system clock */
  SystemClock_Config();

  /* Initialize all configured peripherals */
  MX_GPIO_Init();
  MX_USART3_UART_Init();
  MX_USB_OTG_FS_PCD_Init();
  MX_TIM3_Init();
  MX_TIM4_Init();
  MX_ADC1_Init();
  MX_USART2_UART_Init();
  MX_SPI5_Init();
  MX_RNG_Init();
  MX_TIM1_Init();
  /* USER CODE BEGIN 2 */
  Stepper_StopAll();
  ILI9341_Init();
  ILI9341_Set_Rotation(1);
  ILI9341_Fill_Screen(BLACK);

  char hello[] = "STM32 UART ready! Type something and press Enter:\r\n";
  HAL_UART_Transmit(&huart3, (uint8_t *)hello, strlen(hello), HAL_MAX_DELAY);
  char line[LINE_BUFSIZE];
  char state = 'S';
  ILI9341_Fill_Screen(BLACK);
  update_display();               // first draw   // start timer if you use it
  HAL_UART_Receive_IT(&huart2, &rx_char, 1);
  uint32_t last_tick = HAL_GetTick();

//  home_reset_sequence();

  /* USER CODE END 2 */

  /* Infinite loop */
  while (1)
  {

    /* USER CODE BEGIN 3 */

	  update_display();
	  if(state=='S'){
		  uart_puts("\r\nSelect Mode> ");
		  char sel = select_initial_string();

		  uart_puts("\r\n Received>");
		  uart_puts(line);

		  if(sel == 'S'){state = 'S';}
		  if(sel == 'P'){state = 'P';}
		  if(sel == 'C'){state = 'C';}

	  }
	  if(state == 'C'){
		  	if(started == 0)
		  	{
		  		startup_scan();
		  		started = 1;
		  		ready("C");
		  		ILI9341_Fill_Screen(BLACK);
		  		update_display();
		  		HAL_TIM_Base_Start_IT(&htim1);
		  	}

		  	button1_state = HAL_GPIO_ReadPin(GPIOA, GPIO_PIN_0);
			button2_state = HAL_GPIO_ReadPin(GPIOE, GPIO_PIN_15);
			button15_state = HAL_GPIO_ReadPin(GPIOE, GPIO_PIN_14);
			  if (button2_state == 1 && button2_flag == 0)
			  {
				  strcpy(line, "a");
				  uart_puts(line);
				  button2_flag = 1;
			  }
			  else if (button15_state == 1 && button15_flag == 0)
			  {
				  strcpy(line, "e");
				  uart_puts(line);
				  button15_flag = 1;
			  }
			  else if(button1_state == 1 && button1_flag == 0)
			  {
				  scan_board();
				  print_board();
				  button2_flag = 0;
				  button15_flag = 0;
				  button1_flag = 0;
				  home_reset_sequence();
				  continue;
			  }
			  else
			  {
				  button2_flag = 0;
				  button15_flag = 0;
				  button1_flag = 0;
				  continue;
			  }

			// คำสั่งพิเศษ
			if (strcmp(line, "board") == 0) {
//			  uart_puts("\r\nCurrent board:\r\n");
//			  serialBoard();
			  continue;
			}
			if (line[0] == 'r') {
				home_reset_sequence();
				continue;
			}
			if (line[0] == 'm') {
					HAL_GPIO_TogglePin(GPIOG, GPIO_PIN_0);
//					uart_puts("mg");
					continue;
				}

			if (strcmp(line, "help") == 0) {
//			  uart_puts("\r\nCommands:\r\n  e2e4  - make a move\r\n  board - show board\r\n  help  - this help\r\n");
			  continue;
			}

//			if(is_valid_mov4(line))
//			{
//				strncpy(mov, line, 4);
//			}
//			else
//			{
				char *move = NULL;
				if (line[0] == 'a') {  // กด Enter
					  scan_board();
					  print_board();

					  move = detect_move();
//					  uart_puts(move);
					  if(move[0] == '\0')
					  {
						  uart_puts("\rEmpty\r\n");
//						  uart_puts2("e");
						  continue;
					  }
					  if(move[0] == '0')
					  {
//						  uart_puts("\r\Make sure piece is in the center.\r\n");
//						  uart_puts2("e");
						  continue;
					  }

				  }
				else if (line[0] == 'e') {
					  if (captured_square[0] != '\0')
					  {
//						  uart_puts("\r\nYou already captured something.\r\n");
//						  uart_puts2("e");
						  continue;
					  }

					  scan_board();
					  print_board();
					  detect_capture();
					  continue;
				 }

				if (!is_valid_mov4(move)) {
//				  uart_puts("\r\nInvalid format. Use like e2e4\r\n");
//				  uart_puts2("e");
				  continue;
				}

				strncpy(mov, move, 4);

//			}
			mov[4] = '\0';
			// ✅ เพิ่ม \n ตอนส่งไป UART2
			process_move(mov);

			// --- แสดงผลบน UART3 (TeraTerm) ---

			const char* reply = AI_HvsC();

//			uart_puts("Computer: ");
//			uart_puts(reply);
			if(strcmp(reply, ":nv\n") == 0){
//				uart_puts("\r\nno valid send back");
				restore_prev_board();
				continue;
			}
			HAL_Delay(10);
			memcpy((void*)prev_board, (void*)curr_board, sizeof(prev_board));
			memcpy((void*)prev_threshold, (void*)threshold, sizeof(prev_threshold));
			captured_square[0] = '\0';

			if(strstr(reply, "-c") != NULL){
				if(strstr(reply, "-k") != NULL){motion_castle_left();}
				else if(strstr(reply, "-q") != NULL){motion_castle_right();}
			}
			else{
				if(strstr(reply, "-t") != NULL){
					motion_capture_to_row8((uint8_t)char_to_int(reply[3]),(uint8_t)char_to_int(reply[2]));
//					uart_puts("take!!\r\n");
					total_piece -= 1;
				}
				int yi = char_to_int(reply[0]);
				int xi = char_to_int(reply[1]);
//				uart_puts("\r\nbefore move");
				corexy_move_to_cell((uint8_t)xi,(uint8_t)yi, DEFAULT_FREQ);
				HAL_GPIO_WritePin(GPIOG, GPIO_PIN_0, 1);
				HAL_Delay(500);
				yi = char_to_int(reply[2]);
				xi = char_to_int(reply[3]);
				corexy_move_to_cell((uint8_t)xi,(uint8_t)yi, DEFAULT_FREQ);
				HAL_GPIO_WritePin(GPIOG, GPIO_PIN_0, 0);
//				uart_puts("\r\after move\r\n");
			}

			update_board_from_reply(reply);
			memcpy((void*)prev_board, (void*)curr_board, sizeof(prev_board));
			memcpy((void*)prev_threshold, (void*)threshold, sizeof(prev_threshold));
			process_move(reply);
			HAL_Delay(10);

	  }
	  if(state == 'P'){
//	    uart_puts("\r\nPYour move> ");

	    int n = uart_getline(line, sizeof(line));
	    if (n <= 0) {
	      continue;
	    }

	    // ทำให้เป็นตัวพิมพ์เล็ก
	    for (int i = 0; i < n; ++i) {
	      if (line[i] >= 'A' && line[i] <= 'Z') line[i] = (char)(line[i] - 'A' + 'a');
	    }

	    // คำสั่งพิเศษ
	    if (strcmp(line, "board") == 0) {
//	      uart_puts("\r\nCurrent board:\r\n");
//	      serialBoard();
	      continue;
	    }
	    if (line[0] == 'r') {
	      home_reset_sequence();
	      continue;
	    }
	    if (line[0] == 'm') {
	      HAL_GPIO_TogglePin(GPIOG, GPIO_PIN_0);
//	      uart_puts("mg");
	      continue;
	    }
	    if (strcmp(line, "help") == 0) {
//	      uart_puts("\r\nCommands:\r\n  e2e4  - make a move\r\n  board - show board\r\n  help  - this help\r\n");
	      continue;
	    }

	    // ---------------- สร้าง mov ----------------
	    if(is_valid_mov4(line)) {
	      strncpy(mov, line, 4);
	    } else {
	      char *move = NULL;

	      if (line[0] == 'a') {  // โหมดสแกนกระดาน
	        scan_board();
	        print_board();
	        move = detect_move();
	        if (!move || move[0] == '0') {
//	          uart_puts("\r\nMake sure piece is in the center.\r\n");
	          continue;
	        }
	      }
	      else if (line[0] == 'e') { // โหมดตรวจจับการกิน
	        if (captured_square[0] != '\0') {
//	          uart_puts("\r\nYou already captured something.\r\n");
	          continue;
	        }
	        scan_board();
	        print_board();
	        detect_capture();
	        if (captured_square[0] == '\0') {
	          // ยังจับไม่ครบ/ไม่นิ่ง
	          continue;
	        }
	        continue; // โหมด e จบเท่านี้
	      } else {
//	        uart_puts("\r\nInvalid format. Use like e2e4\r\n");
	        continue;
	      }

	      // แปลงเป็นตัวเล็กที่ตัว move จริง ๆ
	      for (int i = 0; move[i]; ++i) {
	        if (move[i] >= 'A' && move[i] <= 'Z')
	          move[i] = (char)(move[i] - 'A' + 'a');
	      }

	      if (!is_valid_mov4(move)) {
//	        uart_puts("\r\nInvalid format. Use like e2e4\r\n");
	        continue;
	      }

	      strncpy(mov, move, 4);
	    }

	    mov[4] = '\0';

	    // ---------- ส่งไป UART2: ต้องส่ง mov + "\n" ----------

	    // --- รอรับ response จาก UART2 ---

	    // --- แสดงผลบน UART3 (TeraTerm) ---
	    // ---------- เรียกเอนจิน HvH (จะคืนสตริง + suffix :CHECK/:CHECKMATE/...) ----------
	    const char* reply = AI_HvsH();

//	    uart_puts("Computer: ");
//	    uart_puts(reply);
	    if(strcmp(reply, ":nv\n") == 0){
//	      uart_puts("\r\nno valid send back");
	      continue;
	    }

	    // (ถ้าต้อง sync กระดานจาก reply ให้ parse แล้ว update_board_from_reply(reply) ที่นี่)
	    memcpy((void*)prev_board, (void*)curr_board, sizeof(prev_board));
	    memcpy((void*)prev_threshold, (void*)threshold, sizeof(prev_threshold));
	    captured_square[0] = '\0';

	    // --- แสดงผลบน UART3 (TeraTerm) รอบสุดท้าย ---
	  }

  }
  home_reset_sequence();
  /* USER CODE END 3 */
}

void SystemClock_Config(void)
{
  RCC_OscInitTypeDef RCC_OscInitStruct = {0};
  RCC_ClkInitTypeDef RCC_ClkInitStruct = {0};

  /** Configure LSE Drive Capability
  */
  HAL_PWR_EnableBkUpAccess();

  /** Configure the main internal regulator output voltage
  */
  __HAL_RCC_PWR_CLK_ENABLE();
  __HAL_PWR_VOLTAGESCALING_CONFIG(PWR_REGULATOR_VOLTAGE_SCALE1);

  /** Initializes the RCC Oscillators according to the specified parameters
  * in the RCC_OscInitTypeDef structure.
  */
  RCC_OscInitStruct.OscillatorType = RCC_OSCILLATORTYPE_HSE;
  RCC_OscInitStruct.HSEState = RCC_HSE_BYPASS;
  RCC_OscInitStruct.PLL.PLLState = RCC_PLL_ON;
  RCC_OscInitStruct.PLL.PLLSource = RCC_PLLSOURCE_HSE;
  RCC_OscInitStruct.PLL.PLLM = 4;
  RCC_OscInitStruct.PLL.PLLN = 216;
  RCC_OscInitStruct.PLL.PLLP = RCC_PLLP_DIV2;
  RCC_OscInitStruct.PLL.PLLQ = 9;
  RCC_OscInitStruct.PLL.PLLR = 2;
  if (HAL_RCC_OscConfig(&RCC_OscInitStruct) != HAL_OK)
  {
    Error_Handler();
  }

  /** Activate the Over-Drive mode
  */
  if (HAL_PWREx_EnableOverDrive() != HAL_OK)
  {
    Error_Handler();
  }

  /** Initializes the CPU, AHB and APB buses clocks
  */
  RCC_ClkInitStruct.ClockType = RCC_CLOCKTYPE_HCLK|RCC_CLOCKTYPE_SYSCLK
                              |RCC_CLOCKTYPE_PCLK1|RCC_CLOCKTYPE_PCLK2;
  RCC_ClkInitStruct.SYSCLKSource = RCC_SYSCLKSOURCE_PLLCLK;
  RCC_ClkInitStruct.AHBCLKDivider = RCC_SYSCLK_DIV1;
  RCC_ClkInitStruct.APB1CLKDivider = RCC_HCLK_DIV4;
  RCC_ClkInitStruct.APB2CLKDivider = RCC_HCLK_DIV2;

  if (HAL_RCC_ClockConfig(&RCC_ClkInitStruct, FLASH_LATENCY_7) != HAL_OK)
  {
    Error_Handler();
  }
}

void Error_Handler(void)
{
  __disable_irq();
  while (1)
  {
  }
}
